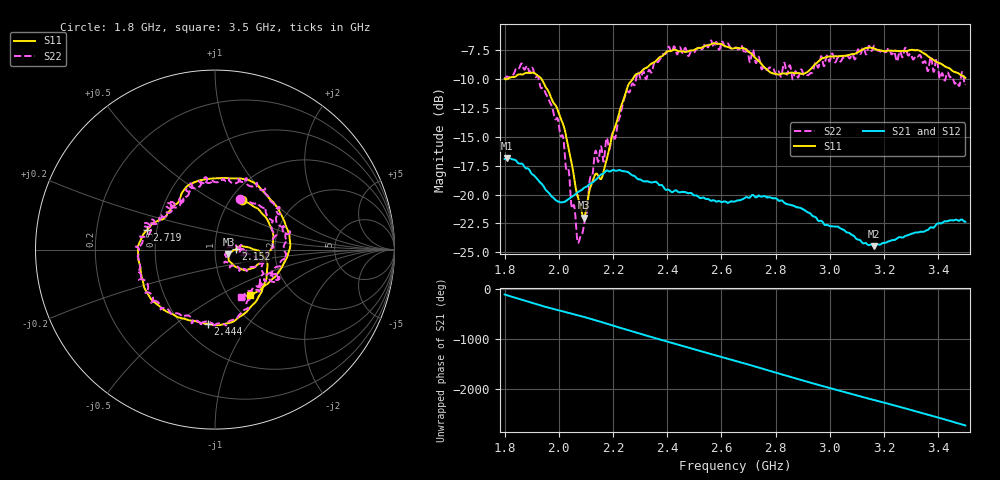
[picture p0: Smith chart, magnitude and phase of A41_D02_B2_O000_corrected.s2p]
! Created with skrf 1.9.0 (http://scikit-rf.org).
# Hz S RI R 50.0
!freq ReS11 ImS11 ReS21 ImS21 ReS12 ImS12 ReS22 ImS22
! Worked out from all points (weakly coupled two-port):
!   1601 points, 1.8 GHz to 3.5 GHz, reference 50 ohm
!   highest |S21| = -16.84 dB at 1.81 GHz (marker M1); lowest = -24.5 dB at 3.162 GHz (marker M2)
!   lowest |S11| = -22.0 dB at 2.092 GHz (marker M3), VSWR 1.17, Z = 58 - j3.14 ohm
!   |S11| at or under -10 dB: 1.8 GHz to 1.812 GHz (11.39 MHz wide, 0.63 % of centre); 1.936 GHz to 2.273 GHz (337.2 MHz wide, 16 % of centre)
!   |S22| runs from -24.2 to -6.7 dB; largest |S21 - S12| = 0.0025
!   S11 on the Smith chart (normalised r, x): 1.8 GHz: 1.12, +0.70; 2.152 GHz: 1.26, +0.01; 2.444 GHz: 0.66, -0.66; 2.719 GHz: 0.44, +0.11; 3.5 GHz: 1.26, -0.71
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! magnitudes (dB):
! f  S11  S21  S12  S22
! 1.8 GHz  -10.0  -16.9  -16.9  -10.0
! 1.81 GHz  -10.0  -16.8  -16.9  -9.8
! 1.864 GHz  -9.6  -17.3  -17.4  -8.7
! 1.952 GHz  -10.7  -19.6  -19.6  -11.3
! 2.019 GHz  -14.1  -20.6  -20.7  -15.6
! 2.07 GHz  -20.2  -19.8  -19.8  -24.2
! 2.084 GHz  -21.4  -19.6  -19.6  -23.4
! 2.092 GHz  -22.0  -19.4  -19.5  -22.7
! 2.13 GHz  -18.5  -18.8  -18.8  -16.9
! 2.152 GHz  -18.6  -18.3  -18.4  -16.2
! 2.209 GHz  -14.0  -17.9  -17.9  -15.1
! 2.257 GHz  -10.5  -18.1  -18.1  -11.1
! 2.367 GHz  -8.2  -19.1  -19.1  -8.5
! 2.444 GHz  -7.6  -19.8  -19.8  -7.4
! 2.65 GHz  -7.3  -20.6  -20.6  -7.3
! 2.719 GHz  -8.1  -20.1  -20.0  -7.7
! 2.805 GHz  -9.6  -20.4  -20.4  -9.5
! 2.934 GHz  -9.1  -21.8  -21.8  -9.5
! 3.162 GHz  -7.4  -24.5  -24.4  -7.2
! 3.217 GHz  -7.6  -24.0  -24.0  -7.3
! 3.329 GHz  -7.5  -23.2  -23.2  -8.0
! 3.5 GHz  -9.9  -22.4  -22.3  -10.5
